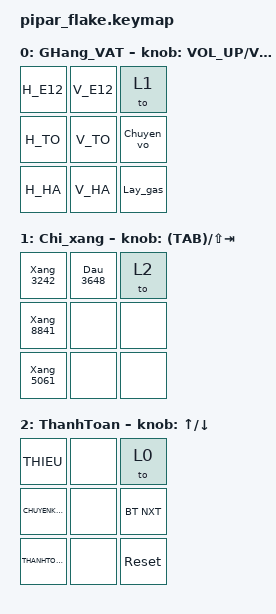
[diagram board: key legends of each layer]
/*
 * Copyright (c) 2022 The ZMK Contributors
 *
 * SPDX-License-Identifier: MIT
 */

#include <behaviors.dtsi>
#include <dt-bindings/zmk/bt.h>
#include <dt-bindings/zmk/keys.h>

#define BASE        0
#define FUNC        1

/ {
    sensors: sensors {
        compatible = "zmk,keymap-sensors";
        sensors = <&encoder_1>;
        triggers-per-rotation = <24>;
    };

    macros {
        H_E12: H_E12 {
            compatible = "zmk,behavior-macro";
            #binding-cells = <0>;
            bindings =
                <&kp LC(E) &kp TAB>,
                <&macro_wait_time 100>,
                <&kp TAB &kp H &kp U &kp Y &kp LS(TAB) &kp LS(TAB) &kp LS(TAB) &kp DOWN &kp C &kp K &kp H &kp TAB &kp TAB &kp TAB &kp TAB &kp MINUS &kp NUMBER_1 &kp NUMBER_2 &kp NUMBER_0 &kp RETURN &kp DOWN &kp LC(S) &kp LC(S) &kp DOWN>;

            label = "H_E12";
            wait-ms = <200>;
            tap-ms = <0>;
        };

        H_TO: H_TO {
            compatible = "zmk,behavior-macro";
            #binding-cells = <0>;
            bindings =
                <&kp LC(E) &kp TAB>,
                <&macro_wait_time 100>,
                <&kp TAB &kp H &kp U &kp Y &kp LS(TAB) &kp LS(TAB) &kp LS(TAB) &kp DOWN &kp C &kp K &kp H &kp TAB &kp TAB &kp TAB &kp TAB &kp MINUS &kp NUMBER_1 &kp NUMBER_2 &kp NUMBER_1 &kp RETURN &kp DOWN &kp LC(S) &kp LC(S) &kp DOWN>;

            label = "H_TO";
            wait-ms = <200>;
            tap-ms = <0>;
        };

        H_HA: H_HA {
            compatible = "zmk,behavior-macro";
            #binding-cells = <0>;
            bindings =
                <&kp LC(E) &kp TAB>,
                <&macro_wait_time 100>,
                <&kp TAB &kp H &kp U &kp Y &kp LS(TAB) &kp LS(TAB) &kp LS(TAB) &kp DOWN &kp C &kp K &kp H &kp TAB &kp TAB &kp TAB &kp TAB &kp MINUS &kp NUMBER_1 &kp NUMBER_2 &kp NUMBER_2 &kp RETURN &kp DOWN &kp LC(S) &kp LC(S) &kp DOWN>;

            label = "H_HA";
            wait-ms = <200>;
            tap-ms = <0>;
        };

        V_E12: V_E12 {
            compatible = "zmk,behavior-macro";
            #binding-cells = <0>;
            bindings =
                <&kp LC(E) &kp TAB>,
                <&macro_wait_time 100>,
                <&kp TAB &kp V &kp I &kp LS(TAB) &kp LS(TAB) &kp LS(TAB) &kp DOWN &kp C &kp K &kp H &kp TAB &kp TAB &kp TAB &kp TAB &kp MINUS &kp NUMBER_1 &kp NUMBER_2 &kp NUMBER_0 &kp RETURN &kp DOWN &kp LC(S) &kp LC(S) &kp DOWN>;

            label = "V_E12";
            wait-ms = <200>;
            tap-ms = <0>;
        };

        V_TO: V_TO {
            compatible = "zmk,behavior-macro";
            #binding-cells = <0>;
            bindings =
                <&kp LC(E) &kp TAB>,
                <&macro_wait_time 100>,
                <&kp TAB &kp V &kp I &kp LS(TAB) &kp LS(TAB) &kp LS(TAB) &kp DOWN &kp C &kp K &kp H &kp TAB &kp TAB &kp TAB &kp TAB &kp MINUS &kp NUMBER_1 &kp NUMBER_2 &kp NUMBER_1 &kp RETURN &kp DOWN &kp LC(S) &kp LC(S) &kp DOWN>;

            label = "V_TO";
            wait-ms = <200>;
            tap-ms = <0>;
        };

        V_HA: V_HA {
            compatible = "zmk,behavior-macro";
            #binding-cells = <0>;
            bindings =
                <&kp LC(E) &kp TAB>,
                <&macro_wait_time 100>,
                <&kp TAB &kp V &kp I &kp LS(TAB) &kp LS(TAB) &kp LS(TAB) &kp DOWN &kp C &kp K &kp H &kp TAB &kp TAB &kp TAB &kp TAB &kp MINUS &kp NUMBER_1 &kp NUMBER_2 &kp NUMBER_2 &kp RETURN &kp DOWN &kp LC(S) &kp LC(S) &kp DOWN>;

            label = "V_HA";
            wait-ms = <300>;
            tap-ms = <0>;
        };

        THIEU: THIEU {
            compatible = "zmk,behavior-macro";
            #binding-cells = <0>;
            bindings =
                <&kp ENTER &kp TAB>,
                <&macro_wait_time 200>,
                <&kp TAB &kp TAB &kp TAB &kp TAB &kp N &kp LS(TAB) &kp LS(TAB) &kp LS(TAB) &kp LS(TAB) &kp LS(TAB) &kp LS(TAB) &kp NUMBER_0 &kp F5 &kp LEFT_ARROW>;

            label = "THIEU";
            wait-ms = <400>;
        };

        THANHTOAN: THANHTOAN {
            compatible = "zmk,behavior-macro";
            #binding-cells = <0>;
            bindings =
                <&kp ENTER>,
                <&macro_wait_time 200>,
                <&kp F5 &kp LEFT_ARROW>;

            label = "THANHTOAN";
            wait-ms = <400>;
        };

        CHUYENKHOAN: CHUYENKHOAN {
            compatible = "zmk,behavior-macro";
            #binding-cells = <0>;
            bindings =
                <&kp ENTER &kp TAB>,
                <&macro_wait_time 200>,
                <&kp TAB &kp TAB &kp TAB &kp TAB &kp C &kp F5 &kp LEFT_ARROW>;

            label = "CHUYENKHOAN";
            wait-ms = <400>;
        };

        Chuyen_vo: Chuyen_vo {
            compatible = "zmk,behavior-macro";
            #binding-cells = <0>;
            bindings =
                <&kp LC(T) &kp TAB>,
                <&macro_wait_time 200>,
                <&kp TAB &kp TAB &kp TAB &kp TAB &kp C &kp DOWN_ARROW &kp DOWN_ARROW &kp TAB &kp N6 &kp N4 &kp LS(H) &kp RETURN &kp O &kp RETURN &kp V &kp DOWN_ARROW &kp TAB &kp C &kp K &kp V &kp RETURN &kp RETURN &kp V &kp MINUS>;

            label = "Chuyen_vo";
            wait-ms = <300>;
            tap-ms = <0>;
        };

        Xang_3242: Xang_3242 {
            compatible = "zmk,behavior-macro";
            #binding-cells = <0>;
            bindings =
                <&kp LC(T) &kp TAB>,
                <&macro_wait_time 150>,
                <&kp TAB &kp TAB &kp TAB &kp TAB &kp SPACE &kp TAB &kp T &kp P &kp DOWN &kp TAB &kp LS(H) &kp U &kp RETURN &kp MINUS &kp X>,
                <&macro_wait_time 300>,
                <&kp TAB &kp X &kp G &kp LS(F) &kp NUMBER_4 &kp RETURN &kp LS(H) &kp LS(D) &kp D &kp SPACE>;

            label = "XANG_3242";
            wait-ms = <800>;
            tap-ms = <0>;
        };

        Xang_8841: Xang_8841 {
            compatible = "zmk,behavior-macro";
            #binding-cells = <0>;
            bindings =
                <&kp LC(T) &kp TAB>,
                <&macro_wait_time 150>,
                <&kp TAB &kp TAB &kp TAB &kp TAB &kp SPACE &kp TAB &kp T &kp P &kp DOWN &kp TAB &kp LS(V) &kp I &kp E &kp RETURN &kp MINUS &kp X>,
                <&macro_wait_time 300>,
                <&kp TAB &kp X &kp G &kp LS(F) &kp NUMBER_1 &kp RETURN &kp LS(H) &kp LS(D) &kp D &kp SPACE>;

            label = "XANG_8841";
            wait-ms = <800>;
            tap-ms = <0>;
        };

        Xang_5061: Xang_5061 {
            compatible = "zmk,behavior-macro";
            #binding-cells = <0>;
            bindings =
                <&kp LC(T) &kp TAB>,
                <&macro_wait_time 150>,
                <&kp TAB &kp TAB &kp TAB &kp TAB &kp SPACE &kp TAB &kp T &kp P &kp DOWN &kp TAB &kp LS(V) &kp I &kp E &kp RETURN &kp MINUS &kp X>,
                <&macro_wait_time 300>,
                <&kp TAB &kp X &kp G &kp LS(H) &kp NUMBER_5 &kp RETURN &kp LS(H) &kp LS(D) &kp D &kp SPACE>;

            label = "Xang_5061";
            wait-ms = <800>;
            tap-ms = <0>;
        };

        Dau_3648: Dau_3648 {
            compatible = "zmk,behavior-macro";
            #binding-cells = <0>;
            bindings =
                <&kp LC(T) &kp TAB>,
                <&macro_wait_time 150>,
                <&kp TAB &kp TAB &kp TAB &kp TAB &kp SPACE &kp TAB &kp T &kp P &kp DOWN &kp TAB &kp LS(O) &kp A &kp RETURN &kp MINUS &kp X>,
                <&macro_wait_time 300>,
                <&kp TAB &kp X &kp G &kp LS(H) &kp RETURN &kp LS(H) &kp LS(D) &kp D &kp SPACE>;

            label = "DAU_3648";
            wait-ms = <800>;
            tap-ms = <0>;
        };

        Lay_gas: Lay_gas {
            compatible = "zmk,behavior-macro";
            #binding-cells = <0>;
            bindings =
                <&kp LC(T) &kp TAB>,
                <&macro_wait_time 200>,
                <&kp TAB &kp TAB &kp TAB &kp K &kp DOWN_ARROW &kp TAB &kp K &kp TAB &kp N6 &kp N4 &kp LS(H) &kp RETURN &kp TAB &kp O &kp RETURN &kp G &kp DOWN_ARROW &kp TAB &kp C &kp K &kp G &kp RETURN &kp RETURN &kp G &kp MINUS>;

            label = "Lay_gas";
            tap-ms = <0>;
            wait-ms = <300>;
        };
    };

    keymap {
        compatible = "zmk,keymap";

        giaohang_layer {
            // ---------------------------//
            // | Q    | W     | ENCODER | //
            // | A    | S     | D       | //
            // | Z    | X     | FN      | //

            display-name = "GHang_VAT";
            bindings = <
&H_E12  &V_E12  &to 1
&H_TO   &V_TO   &Chuyen_vo
&H_HA   &V_HA   &Lay_gas
            >;

            sensor-bindings = <&inc_dec_kp C_VOLUME_UP C_VOLUME_DOWN>;
        };

        chixang_layer {
            // --------------------------- //
            // | BT_CLR | none | ENCODER | //
            // | BT_0   | BT_1 | BT_2    | //
            // | BT_3   | BT_4 | trans   | //

            display-name = "Chi_xang";
            bindings = <
&Xang_3242  &Dau_3648  &to 2
&Xang_8841  &none      &none
&Xang_5061  &none      &none
            >;

            sensor-bindings = <&inc_dec_kp (TAB) LS(TAB)>;
        };

        thanhtoan_layer {
            bindings = <
&THIEU        &none  &to 0
&CHUYENKHOAN  &none  &bt BT_NXT
&THANHTOAN    &none  &sys_reset
            >;

            label = "ThanhToan";
            sensor-bindings = <&inc_dec_kp UP_ARROW DOWN_ARROW>;
        };
    };
};
